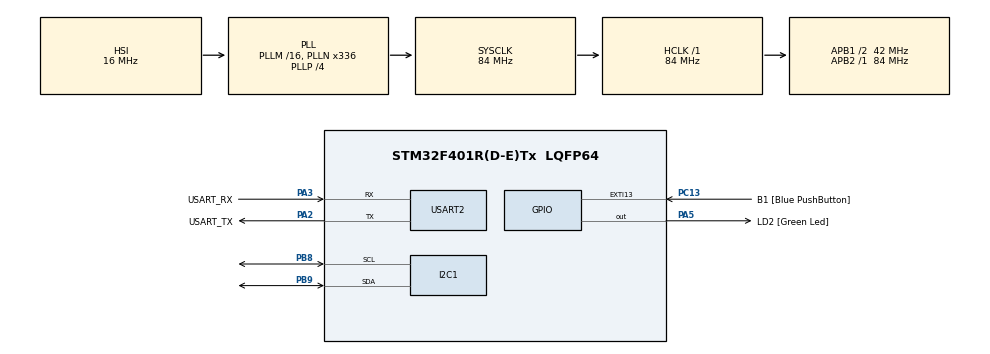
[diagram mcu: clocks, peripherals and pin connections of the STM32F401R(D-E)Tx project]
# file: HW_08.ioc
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Dma.Request0=USART2_TX
Dma.USART2_TX.0.Direction=DMA_MEMORY_TO_PERIPH
Dma.USART2_TX.0.FIFOMode=DMA_FIFOMODE_DISABLE
Dma.USART2_TX.0.Instance=DMA1_Stream6
Dma.USART2_TX.0.MemDataAlignment=DMA_MDATAALIGN_BYTE
Dma.USART2_TX.0.MemInc=DMA_MINC_ENABLE
Dma.USART2_TX.0.Mode=DMA_NORMAL
Dma.USART2_TX.0.PeriphDataAlignment=DMA_PDATAALIGN_BYTE
Dma.USART2_TX.0.PeriphInc=DMA_PINC_DISABLE
Dma.USART2_TX.0.Priority=DMA_PRIORITY_LOW
Mcu.Family=STM32F4
Mcu.Name=STM32F401R(D-E)Tx
Mcu.Package=LQFP64
NVIC.DMA1_Stream6_IRQn=true\:0\:0\:false\:false\:true\:false\:true\:true
NVIC.PriorityGroup=NVIC_PRIORITYGROUP_0
NVIC.TIM2_IRQn=true\:0\:0\:false\:false\:true\:true\:true\:true
NVIC.USART2_IRQn=true\:0\:0\:false\:false\:true\:true\:true\:true
PA13.GPIO_Label=TMS
PA13.Mode=Serial_Wire
PA13.Signal=SYS_JTMS-SWDIO
PA14.GPIO_Label=TCK
PA14.Mode=Serial_Wire
PA14.Signal=SYS_JTCK-SWCLK
PA2.GPIO_Label=USART_TX
PA2.GPIO_Mode=GPIO_MODE_AF_PP
PA2.GPIO_PuPd=GPIO_NOPULL
PA2.GPIO_Speed=GPIO_SPEED_FREQ_LOW
PA2.Mode=Asynchronous
PA2.Signal=USART2_TX
PA3.GPIO_Label=USART_RX
PA3.GPIO_Mode=GPIO_MODE_AF_PP
PA3.GPIO_PuPd=GPIO_NOPULL
PA3.GPIO_Speed=GPIO_SPEED_FREQ_LOW
PA3.Mode=Asynchronous
PA3.Signal=USART2_RX
PA5.GPIO_Label=LD2 [Green Led]
PA5.GPIO_Mode=GPIO_MODE_OUTPUT_PP
PA5.GPIO_PuPd=GPIO_NOPULL
PA5.GPIO_Speed=GPIO_SPEED_FREQ_LOW
PA5.Signal=GPIO_Output
PB3.GPIO_Label=SWO
PB3.Signal=SYS_JTDO-SWO
PB8.Mode=I2C
PB8.Signal=I2C1_SCL
PB9.Mode=I2C
PB9.Signal=I2C1_SDA
PC13-ANTI_TAMP.GPIO_Label=B1 [Blue PushButton]
PC13-ANTI_TAMP.GPIO_ModeDefaultEXTI=GPIO_MODE_IT_FALLING
PC13-ANTI_TAMP.GPIO_PuPd=GPIO_NOPULL
PC13-ANTI_TAMP.Signal=GPXTI13
PC14-OSC32_IN.Mode=LSE-External-Oscillator
PC14-OSC32_IN.Signal=RCC_OSC32_IN
PC15-OSC32_OUT.Mode=LSE-External-Oscillator
PC15-OSC32_OUT.Signal=RCC_OSC32_OUT
PH0\ -\ OSC_IN.Mode=HSE-External-Clock-Source
PH0\ -\ OSC_IN.Signal=RCC_OSC_IN
PH1\ -\ OSC_OUT.Mode=HSE-External-Clock-Source
PH1\ -\ OSC_OUT.Signal=RCC_OSC_OUT
ProjectManager.HeapSize=0x200
ProjectManager.StackSize=0x400
ProjectManager.TargetToolchain=STM32CubeIDE
RCC.48MHZClocksFreq_Value=48000000
RCC.AHBFreq_Value=84000000
RCC.APB1CLKDivider=RCC_HCLK_DIV2
RCC.APB1Freq_Value=42000000
RCC.APB1TimFreq_Value=84000000
RCC.APB2Freq_Value=84000000
RCC.APB2TimFreq_Value=84000000
RCC.CortexFreq_Value=84000000
RCC.HCLKFreq_Value=84000000
RCC.HSE_VALUE=8000000
RCC.HSI_VALUE=16000000
RCC.PLLN=336
RCC.PLLP=RCC_PLLP_DIV4
RCC.PLLQ=7
RCC.SYSCLKFreq_VALUE=84000000
RCC.SYSCLKSource=RCC_SYSCLKSOURCE_PLLCLK
RCC.VCOOutputFreq_Value=336000000
TIM2.Period=10000-1
TIM2.Prescaler=8400-1
USART2.VirtualMode=VM_ASYNC
VP_TIM2_VS_ClockSourceINT.Mode=Internal
board=NUCLEO-F401RE

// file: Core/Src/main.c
/* USER CODE BEGIN Header */
/**
  ******************************************************************************
  * @file           : main.c
  * @brief          : Main program body
  ******************************************************************************
  * @attention
  *
  * Copyright (c) 2024 STMicroelectronics.
  * All rights reserved.
  *
  * This software is licensed under terms that can be found in the LICENSE file
  * in the root directory of this software component.
  * If no LICENSE file comes with this software, it is provided AS-IS.
  *
  ******************************************************************************
  */
/* USER CODE END Header */
#include "main.h"

/* USER CODE BEGIN PD */
#define WRITE_PORT(x) (x << 1) //left shift
#define READ_PORT(x) ((x << 1) | 1) //left shift and add 1 with the OR operator
/* USER CODE END PD */

I2C_HandleTypeDef hi2c1;

TIM_HandleTypeDef htim2;

UART_HandleTypeDef huart2;
DMA_HandleTypeDef hdma_usart2_tx;

/* USER CODE BEGIN PV */
uint16_t acc_address = 0x28;
uint32_t cnt = 0;

uint8_t CTRL_REG1[] = {0x20, 0b00010111}; //set the power mode
uint8_t CTRL_REG2[] = {0x21, 0b00000000}; //high pass filter normal mode
uint8_t CTRL_REG4[] = {0x23, 0b00000000}; //full scale selection: [-2g,2g]

/* USER CODE END PV */

void SystemClock_Config(void);
static void MX_GPIO_Init(void);
static void MX_DMA_Init(void);
static void MX_USART2_UART_Init(void);
static void MX_I2C1_Init(void);
static void MX_TIM2_Init(void);

/* USER CODE BEGIN 0 */
void HAL_TIM_PeriodElapsedCallback(TIM_HandleTypeDef *htim) {
	if (htim->Instance == TIM2) {
		int8_t reg = 0x29;
		int8_t x, y, z;
		HAL_I2C_Master_Transmit(&hi2c1, WRITE_PORT(acc_address), &reg, 1, 10);
		HAL_I2C_Master_Receive(&hi2c1, READ_PORT(acc_address), &x, 1, 10);
		//divide by 64 because FSR=2^8=256, but the range is from -2g to 2g, so it's 4g, (x/256)*4=x/64
		float send_x = (float)x / 64.0f;

		reg = 0x2B;
		HAL_I2C_Master_Transmit(&hi2c1, WRITE_PORT(acc_address), &reg, 1, 10);
		HAL_I2C_Master_Receive(&hi2c1, READ_PORT(acc_address), &y, 1, 10);

		float send_y = (float)y / 64.0f;

		reg = 0x2D;
		HAL_I2C_Master_Transmit(&hi2c1, WRITE_PORT(acc_address), &reg, 1, 10);
		HAL_I2C_Master_Receive(&hi2c1, READ_PORT(acc_address), &z, 1, 10);

		float send_z = (float)z / 64.0f;

		char str[64];
		int len = snprintf(str, 64, "%d: Accelerations: x:%+.2f g y:%+.2f g z:%+.2f g \r\n", cnt, send_x, send_y, send_z);
		cnt++;

		if( HAL_UART_GetState(&huart2)==HAL_UART_STATE_READY ){
		  HAL_UART_Transmit_DMA(&huart2, str, len);
	  }
	}
}
/* USER CODE END 0 */

int main(void)
{

  /* MCU Configuration--------------------------------------------------------*/

  /* Reset of all peripherals, Initializes the Flash interface and the Systick. */
  HAL_Init();

  /* Configure the system clock */
  SystemClock_Config();

  /* Initialize all configured peripherals */
  MX_GPIO_Init();
  MX_DMA_Init();
  MX_USART2_UART_Init();
  MX_I2C1_Init();
  MX_TIM2_Init();
  /* USER CODE BEGIN 2 */

  if(HAL_I2C_Master_Transmit(&hi2c1, WRITE_PORT(acc_address), CTRL_REG1, 2, 10) != HAL_OK) {
   acc_address = 0x18;
   	   if(HAL_I2C_Master_Transmit(&hi2c1, WRITE_PORT(acc_address), CTRL_REG1, 2, 10) != HAL_OK){
   		   //err
   	   }
  }

   HAL_I2C_Master_Transmit(&hi2c1, WRITE_PORT(acc_address), CTRL_REG2, 2, 10);
   HAL_I2C_Master_Transmit(&hi2c1, WRITE_PORT(acc_address), CTRL_REG4, 2, 10);

   HAL_TIM_Base_Start_IT(&htim2);
  /* USER CODE END 2 */

  /* Infinite loop */
  while (1)
  {

  }
}

void SystemClock_Config(void)
{
  RCC_OscInitTypeDef RCC_OscInitStruct = {0};
  RCC_ClkInitTypeDef RCC_ClkInitStruct = {0};

  /** Configure the main internal regulator output voltage
  */
  __HAL_RCC_PWR_CLK_ENABLE();
  __HAL_PWR_VOLTAGESCALING_CONFIG(PWR_REGULATOR_VOLTAGE_SCALE2);

  /** Initializes the RCC Oscillators according to the specified parameters
  * in the RCC_OscInitTypeDef structure.
  */
  RCC_OscInitStruct.OscillatorType = RCC_OSCILLATORTYPE_HSI;
  RCC_OscInitStruct.HSIState = RCC_HSI_ON;
  RCC_OscInitStruct.HSICalibrationValue = RCC_HSICALIBRATION_DEFAULT;
  RCC_OscInitStruct.PLL.PLLState = RCC_PLL_ON;
  RCC_OscInitStruct.PLL.PLLSource = RCC_PLLSOURCE_HSI;
  RCC_OscInitStruct.PLL.PLLM = 16;
  RCC_OscInitStruct.PLL.PLLN = 336;
  RCC_OscInitStruct.PLL.PLLP = RCC_PLLP_DIV4;
  RCC_OscInitStruct.PLL.PLLQ = 7;
  if (HAL_RCC_OscConfig(&RCC_OscInitStruct) != HAL_OK)
  {
    Error_Handler();
  }

  /** Initializes the CPU, AHB and APB buses clocks
  */
  RCC_ClkInitStruct.ClockType = RCC_CLOCKTYPE_HCLK|RCC_CLOCKTYPE_SYSCLK
                              |RCC_CLOCKTYPE_PCLK1|RCC_CLOCKTYPE_PCLK2;
  RCC_ClkInitStruct.SYSCLKSource = RCC_SYSCLKSOURCE_PLLCLK;
  RCC_ClkInitStruct.AHBCLKDivider = RCC_SYSCLK_DIV1;
  RCC_ClkInitStruct.APB1CLKDivider = RCC_HCLK_DIV2;
  RCC_ClkInitStruct.APB2CLKDivider = RCC_HCLK_DIV1;

  if (HAL_RCC_ClockConfig(&RCC_ClkInitStruct, FLASH_LATENCY_2) != HAL_OK)
  {
    Error_Handler();
  }
}

static void MX_I2C1_Init(void)
{

  hi2c1.Instance = I2C1;
  hi2c1.Init.ClockSpeed = 100000;
  hi2c1.Init.DutyCycle = I2C_DUTYCYCLE_2;
  hi2c1.Init.OwnAddress1 = 0;
  hi2c1.Init.AddressingMode = I2C_ADDRESSINGMODE_7BIT;
  hi2c1.Init.DualAddressMode = I2C_DUALADDRESS_DISABLE;
  hi2c1.Init.OwnAddress2 = 0;
  hi2c1.Init.GeneralCallMode = I2C_GENERALCALL_DISABLE;
  hi2c1.Init.NoStretchMode = I2C_NOSTRETCH_DISABLE;
  if (HAL_I2C_Init(&hi2c1) != HAL_OK)
  {
    Error_Handler();
  }

}

static void MX_TIM2_Init(void)
{

  TIM_ClockConfigTypeDef sClockSourceConfig = {0};
  TIM_MasterConfigTypeDef sMasterConfig = {0};

  htim2.Instance = TIM2;
  htim2.Init.Prescaler = 8400-1;
  htim2.Init.CounterMode = TIM_COUNTERMODE_UP;
  htim2.Init.Period = 10000-1;
  htim2.Init.ClockDivision = TIM_CLOCKDIVISION_DIV1;
  htim2.Init.AutoReloadPreload = TIM_AUTORELOAD_PRELOAD_DISABLE;
  if (HAL_TIM_Base_Init(&htim2) != HAL_OK)
  {
    Error_Handler();
  }
  sClockSourceConfig.ClockSource = TIM_CLOCKSOURCE_INTERNAL;
  if (HAL_TIM_ConfigClockSource(&htim2, &sClockSourceConfig) != HAL_OK)
  {
    Error_Handler();
  }
  sMasterConfig.MasterOutputTrigger = TIM_TRGO_RESET;
  sMasterConfig.MasterSlaveMode = TIM_MASTERSLAVEMODE_DISABLE;
  if (HAL_TIMEx_MasterConfigSynchronization(&htim2, &sMasterConfig) != HAL_OK)
  {
    Error_Handler();
  }

}

static void MX_USART2_UART_Init(void)
{

  huart2.Instance = USART2;
  huart2.Init.BaudRate = 115200;
  huart2.Init.WordLength = UART_WORDLENGTH_8B;
  huart2.Init.StopBits = UART_STOPBITS_1;
  huart2.Init.Parity = UART_PARITY_NONE;
  huart2.Init.Mode = UART_MODE_TX_RX;
  huart2.Init.HwFlowCtl = UART_HWCONTROL_NONE;
  huart2.Init.OverSampling = UART_OVERSAMPLING_16;
  if (HAL_UART_Init(&huart2) != HAL_OK)
  {
    Error_Handler();
  }

}

static void MX_DMA_Init(void)
{

  /* DMA controller clock enable */
  __HAL_RCC_DMA1_CLK_ENABLE();

  /* DMA interrupt init */
  /* DMA1_Stream6_IRQn interrupt configuration */
  HAL_NVIC_SetPriority(DMA1_Stream6_IRQn, 0, 0);
  HAL_NVIC_EnableIRQ(DMA1_Stream6_IRQn);

}

static void MX_GPIO_Init(void)
{
  GPIO_InitTypeDef GPIO_InitStruct = {0};

  /* GPIO Ports Clock Enable */
  __HAL_RCC_GPIOC_CLK_ENABLE();
  __HAL_RCC_GPIOH_CLK_ENABLE();
  __HAL_RCC_GPIOA_CLK_ENABLE();
  __HAL_RCC_GPIOB_CLK_ENABLE();

  /*Configure GPIO pin Output Level */
  HAL_GPIO_WritePin(LD2_GPIO_Port, LD2_Pin, GPIO_PIN_RESET);

  /*Configure GPIO pin : B1_Pin */
  GPIO_InitStruct.Pin = B1_Pin;
  GPIO_InitStruct.Mode = GPIO_MODE_IT_FALLING;
  GPIO_InitStruct.Pull = GPIO_NOPULL;
  HAL_GPIO_Init(B1_GPIO_Port, &GPIO_InitStruct);

  /*Configure GPIO pin : LD2_Pin */
  GPIO_InitStruct.Pin = LD2_Pin;
  GPIO_InitStruct.Mode = GPIO_MODE_OUTPUT_PP;
  GPIO_InitStruct.Pull = GPIO_NOPULL;
  GPIO_InitStruct.Speed = GPIO_SPEED_FREQ_LOW;
  HAL_GPIO_Init(LD2_GPIO_Port, &GPIO_InitStruct);

}

void Error_Handler(void)
{
  __disable_irq();
  while (1)
  {
  }
}
